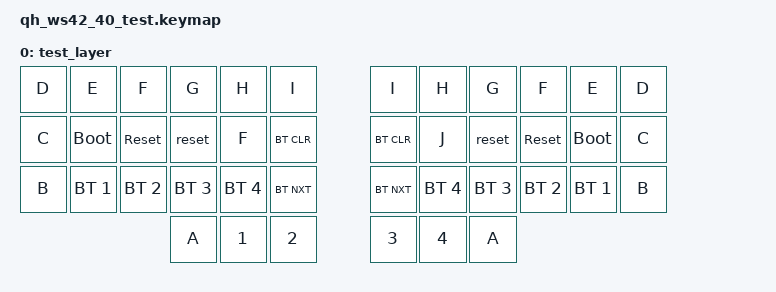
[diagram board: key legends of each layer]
/*
 * Copyright (c) 2020 The ZMK Contributors
 *
 * SPDX-License-Identifier: MIT
 */

#include <behaviors.dtsi>
#include <dt-bindings/zmk/bt.h>
#include <dt-bindings/zmk/keys.h>

/ {
    combos {
        compatible = "zmk,combos";

        l_reset {
            bindings = <&sys_reset>;
            key-positions = <0 1 5>;
        };

        r_reset {
            bindings = <&sys_reset>;
            key-positions = <11 10 6>;
        };

        l_boot {
            bindings = <&bootloader>;
            key-positions = <0 1 17>;
        };

        r_boot {
            bindings = <&bootloader>;
            key-positions = <11 10 18>;
        };
    };

    keymap {
        compatible = "zmk,keymap";

        test_layer {
            bindings = <
&kp D  &kp E         &kp F         &kp G         &kp H         &kp I       &kp I       &kp H         &kp G         &kp F         &kp E         &kp D
&kp C  &bootloader   &sys_reset    &reset        &kp F         &bt BT_CLR  &bt BT_CLR  &kp J         &reset        &sys_reset    &bootloader   &kp C
&kp B  &bt BT_SEL 1  &bt BT_SEL 2  &bt BT_SEL 3  &bt BT_SEL 4  &bt BT_NXT  &bt BT_NXT  &bt BT_SEL 4  &bt BT_SEL 3  &bt BT_SEL 2  &bt BT_SEL 1  &kp B
                                   &kp A         &kp N1        &kp N2      &kp N3      &kp N4        &kp A
            >;
        };
    };
};
